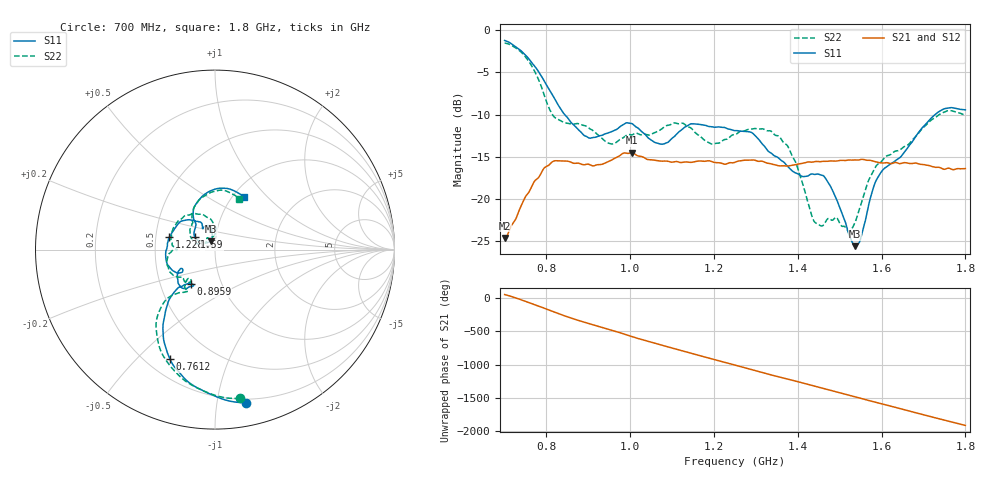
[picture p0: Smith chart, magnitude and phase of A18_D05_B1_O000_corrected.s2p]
! Created with skrf 1.9.0 (http://scikit-rf.org).
# Hz S RI R 50.0
!freq ReS11 ImS11 ReS21 ImS21 ReS12 ImS12 ReS22 ImS22
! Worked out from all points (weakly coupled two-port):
!   1601 points, 700 MHz to 1.8 GHz, reference 50 ohm
!   highest |S21| = -14.53 dB at 1.003 GHz (marker M1); lowest = -24.7 dB at 700.7 MHz (marker M2)
!   lowest |S11| = -25.6 dB at 1.537 GHz (marker M3), VSWR 1.11, Z = 47.4 + j4.41 ohm
!   |S11| at or under -10 dB: 843.3 MHz to 1.728 GHz (884.6 MHz wide, 68.8 % of centre)
!   |S22| runs from -23.9 to -1.5 dB; largest |S21 - S12| = 0.0034
!   S11 on the Smith chart (normalised r, x): 700 MHz: 0.17, -1.20; 761.2 MHz: 0.29, -0.63; 895.9 MHz: 0.71, -0.29; 1.228 GHz: 0.59, +0.09; 1.59 GHz: 0.79, +0.11; 1.8 GHz: 1.12, +0.75
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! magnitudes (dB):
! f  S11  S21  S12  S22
! 700 MHz  -1.2  -24.7  -24.4  -1.5
! 700.7 MHz  -1.2  -24.7  -24.4  -1.5
! 761.2 MHz  -3.6  -18.9  -18.8  -3.9
! 816.9 MHz  -7.9  -15.5  -15.6  -10.2
! 883.6 MHz  -12.2  -15.9  -15.8  -11.2
! 895.9 MHz  -12.6  -15.9  -16.0  -11.4
! 953 MHz  -12.1  -15.5  -15.5  -13.5
! 1.003 GHz  -11.1  -14.5  -14.7  -12.4
! 1.067 GHz  -13.4  -15.5  -15.4  -12.0
! 1.145 GHz  -11.1  -15.7  -15.7  -11.6
! 1.228 GHz  -11.6  -15.9  -15.8  -13.0
! 1.25 GHz  -11.9  -15.7  -15.6  -12.4
! 1.357 GHz  -15.3  -16.1  -16.0  -12.7
! 1.395 GHz  -16.9  -15.9  -15.9  -15.7
! 1.434 GHz  -17.0  -15.6  -15.6  -22.0
! 1.473 GHz  -18.1  -15.5  -15.5  -22.3
! 1.522 GHz  -24.3  -15.4  -15.4  -23.9
! 1.537 GHz  -25.6  -15.4  -15.4  -22.8
! 1.59 GHz  -17.5  -15.7  -15.7  -15.9
! 1.617 GHz  -16.0  -15.8  -15.7  -14.8
! 1.734 GHz  -9.8  -16.3  -16.3  -10.1
! 1.8 GHz  -9.4  -16.4  -16.4  -10.0
